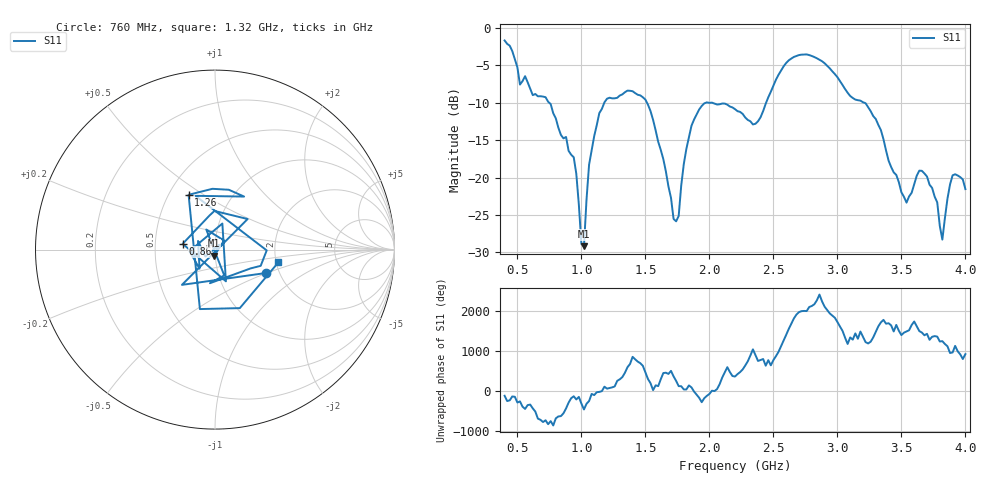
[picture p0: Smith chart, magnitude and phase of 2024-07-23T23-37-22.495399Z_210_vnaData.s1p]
!Created with skrf (http://scikit-rf.org).
# Hz S RI R 50.0
!freq ReS11 ImS11
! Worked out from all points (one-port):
!   181 points, 400 MHz to 4 GHz, reference 50 ohm
!   lowest |S11| = -29.2 dB at 1.02 GHz (marker M1), VSWR 1.07, Z = 49.5 - j3.42 ohm
!   |S11| at or under -10 dB: 749.6 MHz to 1.178 GHz (428.9 MHz wide, 44.5 % of centre); 1.513 GHz to 1.97 GHz (457.5 MHz wide, 26.3 % of centre); 3.213 GHz to end of sweep (the widest 3 of 4)
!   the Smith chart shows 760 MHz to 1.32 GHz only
!   S11 on the Smith chart (normalised r, x): 760 MHz: 1.69, -0.49; 860 MHz: 0.69, +0.05; 1.26 GHz: 0.63, +0.43; 1.32 GHz: 2.06, -0.33
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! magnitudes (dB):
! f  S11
! 400 MHz  -1.6
! 520 MHz  -7.6
! 760 MHz  -10.2
! 860 MHz  -14.8
! 940 MHz  -17.3
! 1 GHz  -28.9
! 1.02 GHz  -29.2
! 1.06 GHz  -18.3
! 1.1 GHz  -14.5
! 1.26 GHz  -9.4
! 1.3 GHz  -9.0
! 1.32 GHz  -8.9
! 1.52 GHz  -10.2
! 1.72 GHz  -25.5
! 1.76 GHz  -25.1
! 1.82 GHz  -16.2
! 1.92 GHz  -10.9
! 2.2 GHz  -10.8
! 2.36 GHz  -12.8
! 2.66 GHz  -3.9
! 3.1 GHz  -9.1
! 3.3 GHz  -12.2
! 3.56 GHz  -22.5
! 3.7 GHz  -19.9
! 3.78 GHz  -23.3
! 3.82 GHz  -28.3
! 3.9 GHz  -19.7
! 4 GHz  -21.5
